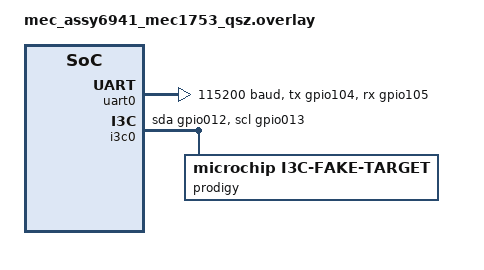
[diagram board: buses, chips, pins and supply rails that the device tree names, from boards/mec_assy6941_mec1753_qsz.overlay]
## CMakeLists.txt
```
cmake_minimum_required(VERSION 3.20.0)

# DTS_ROOT must be set before find_package(Zephyr) so the build system can
# locate the microchip,i3c-fake-target binding in common/dts/bindings/.
list(APPEND DTS_ROOT ${CMAKE_CURRENT_LIST_DIR}/../common)

find_package(Zephyr REQUIRED HINTS $ENV{ZEPHYR_BASE})
project(i3c_host)

target_sources(app PRIVATE
    src/main.c
    src/host.c
    ../common/src/crc8.c
    ../common/src/i3c_fake_target.c
)

target_include_directories(app PRIVATE ../common/src)
```

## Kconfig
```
mainmenu "I3C Host Test Application"

source "Kconfig.zephyr"

config I3C_TEST_CASE
	int "Test group to run: 0=data_transfer 1=ccc_commands 2=ibi 3=advanced"
	default 0
	range 0 3

config I3C_TEST_CRC_CHECK
	bool "Enable CRC-8 loopback data verification"
	default y

config I3C_HOST_TARGET_PID_HI
	hex "Target PID high 16 bits (bits 47:32)"
	default 0xB012

config I3C_HOST_TARGET_PID_LO
	hex "Target PID low 32 bits (bits 31:0)"
	default 0x3456789A

config I3C_HOST_TARGET_STATIC_ADDR
	hex "Target static address used for SETDASA in DT"
	default 0x08

config I3C_FAKE_TARGET_INIT_PRIORITY
	int "Init priority for the fake target stub driver"
	default 90

config I3C_TEST_HOST_LOG_LEVEL
	int "Host module log level (0=off 1=ERR 2=WRN 3=INF 4=DBG)"
	default 3
```

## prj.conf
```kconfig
CONFIG_EVENTS=y
CONFIG_I3C=y
CONFIG_I3C_USE_IBI=y
CONFIG_I3C_CONTROLLER_ROLE_ONLY=y

CONFIG_LOG=y
CONFIG_LOG_DEFAULT_LEVEL=4
CONFIG_LOG_OVERRIDE_LEVEL=4
CONFIG_LOG_MODE_IMMEDIATE=y
CONFIG_LOG_BUFFER_SIZE=4096
#CONFIG_DEBUG_OPTIMIZATIONS=y


CONFIG_I3C_TEST_CASE=0
CONFIG_I3C_TEST_CRC_CHECK=y

CONFIG_I3C_HOST_TARGET_PID_HI=0x0558
CONFIG_I3C_HOST_TARGET_PID_LO=0x00000000

# Immediate-mode debug logging runs on the caller stack (incl. init in main)
CONFIG_MAIN_STACK_SIZE=4096
CONFIG_I3C_IBI_WORKQUEUE_STACK_SIZE=2048
CONFIG_STACK_SENTINEL=y
```

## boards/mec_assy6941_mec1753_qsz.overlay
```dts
/*
 * Copyright (c) 2026 Microchip Technology Inc.
 * SPDX-License-Identifier: Apache-2.0
 */

/ {
	chosen {
		zephyr,console = &uart0;
		zephyr,shell-uart = &uart0;
	};
};

&uart0 {
	compatible = "microchip,xec-uart";
	status = "okay";
	host-io = <0x3F8>;
	clock-frequency = <1843200>;
	current-speed = <115200>;
	girqs = <MCHP_XEC_ECIA_GIRQ_ENC(15, 0)>;
	pcr-scr = <MCHP_XEC_SCR_ENCODE(2, 1)>;
	pinctrl-0 = <&uart0_tx_gpio104 &uart0_rx_gpio105>;
	pinctrl-names = "default";
};

&uart1 {
	status = "disabled";
};

/* i3c0: primary controller driving the Prodigy I3C exerciser as target */
&i3c0 {
	pinctrl-0 = <&i3c01_host_sda_gpio012 &i3c01_host_scl_gpio013>;
	pinctrl-names = "default";
	port-sel = <1>;
	i3c-scl-hz = <DT_FREQ_K(12500)>;
	od-thigh-min-ns = <500>;
	od-tlow-min-ns = <500>;
	primary-controller-da = <0x10>;
	status = "okay";

	/*
	 * Prodigy exerciser as target: PID 0x055800000000, enrolled by ENTDAA.
	 * reg = <static_addr pid_hi pid_lo>; static address 0 selects ENTDAA
	 * instead of SETDASA, although the exerciser has static address 0x55.
	 */
	prodigy: prodigy@55800000000 {
		compatible = "microchip,i3c-fake-target";
		zephyr,deferred-init;
		reg = <0x00 0x0558 0x00000000>;
	};
};

/* i3c1 is not used in the standalone host application */
&i3c1 {
	status = "disabled";
};
```

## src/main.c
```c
/*
 * Copyright (c) 2026 Microchip Technology Inc.
 * SPDX-License-Identifier: Apache-2.0
 */

#include <zephyr/kernel.h>
#include <zephyr/device.h>
#include <zephyr/logging/log.h>

LOG_MODULE_REGISTER(i3c_host_main, CONFIG_I3C_TEST_HOST_LOG_LEVEL);

/* K_FOREVER can no longer be used with K_THREAD_DEFINE; use a user-defined
 * negative delay value to defer thread start until k_thread_start() is called.
 */
#define EC_WAIT_FOREVER              (-1)
#define I3C_HOST_TASK_PRIORITY       6u
#define I3C_HOST_TASK_STACK_SIZE     1024U

BUILD_ASSERT(IS_POWER_OF_TWO(I3C_HOST_TASK_STACK_SIZE),
	     "I3C host task stack size must be a power of 2");

const struct device *const host_dev = DEVICE_DT_GET(DT_NODELABEL(i3c0));

K_EVENT_DEFINE(i3c_host_wake_event);

extern void i3c_host_xfer_task(void *p1, void *p2, void *p3);
extern int  setup_i3c_host(const struct device *dev);

K_THREAD_DEFINE(i3c_host_task_id, I3C_HOST_TASK_STACK_SIZE,
		i3c_host_xfer_task,
		(void *)host_dev, (void *)&i3c_host_wake_event, NULL,
		I3C_HOST_TASK_PRIORITY,
		K_USER | K_INHERIT_PERMS | K_ESSENTIAL,
		EC_WAIT_FOREVER);

int main(void)
{
	if (setup_i3c_host(host_dev) != 0) {
		LOG_ERR("Host init failed — halting");
		return -1;
	}

	/*
	 * In the standalone host app there is no loopback target thread to
	 * post EVT_TARGET_READY.  Post it here so the host task can proceed
	 * immediately without waiting.  In the loopback app this bit is
	 * posted by the target thread after i3c_target_register() succeeds.
	 */
	k_event_post(&i3c_host_wake_event, BIT(4) /* EVT_TARGET_READY */);

	k_thread_start(i3c_host_task_id);
	k_sleep(K_FOREVER);
	return 0;
}
```
